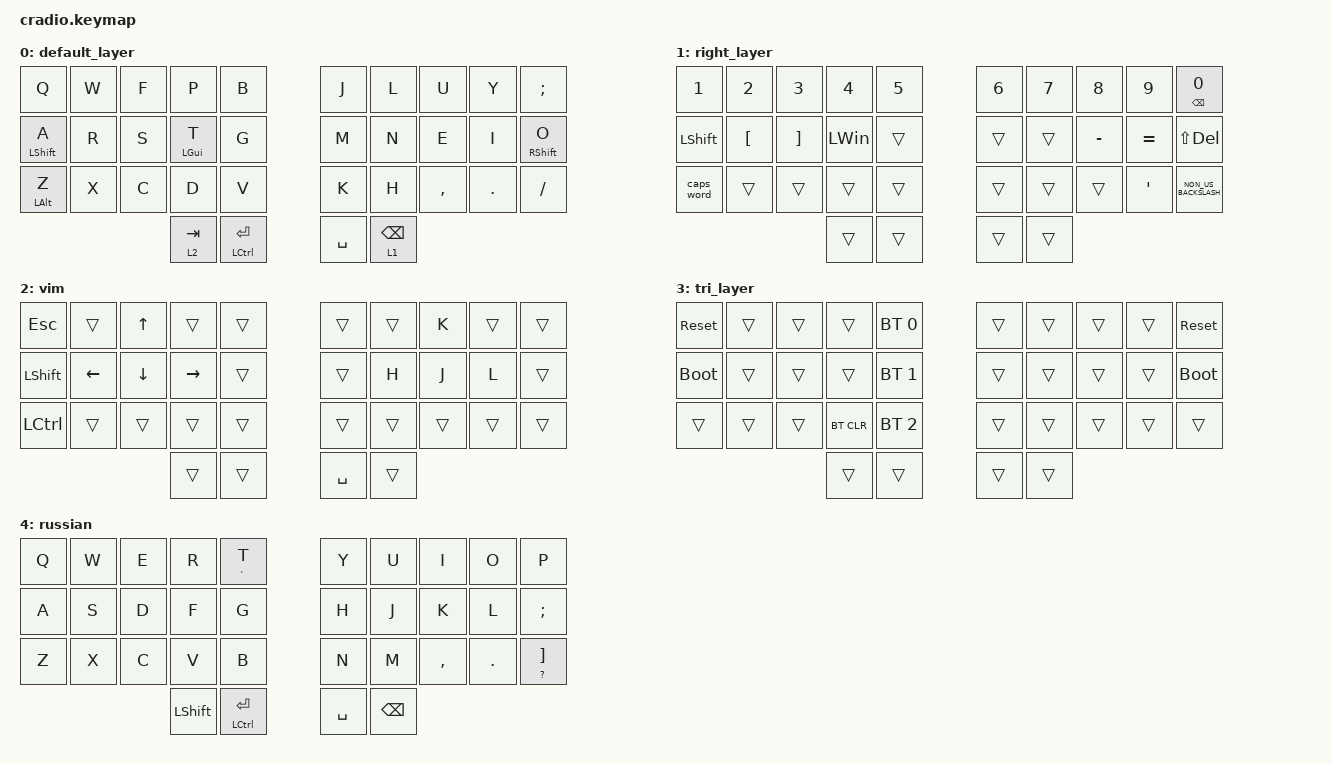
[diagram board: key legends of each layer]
// Copyright (c) 2022 The ZMK Contributors
// SPDX-License-Identifier: MIT

#include <behaviors.dtsi>
#include <dt-bindings/zmk/bt.h>
#include <dt-bindings/zmk/keys.h>

// Home row mods macro

#define HRML(k1,k2,k3,k4) &ht LSHFT k1  &ht LALT k2  &ht LCTRL k3  &ht LGUI k4
#define HRMR(k1,k2,k3,k4) &ht RGUI k1  &ht RCTRL k2  &ht RALT k3  &ht RSHFT k4

/ {
    behaviors {
        ht: hold_tap {
            compatible = "zmk,behavior-hold-tap";
            #binding-cells = <2>;
            flavor = "tap-preferred";
            tapping-term-ms = <220>;
            quick-tap-ms = <150>;
            require-prior-idle-ms = <100>;
            bindings = <&kp>, <&kp>;
        };
    };

    conditional_layers {
        compatible = "zmk,conditional-layers";

        tri_layer {
            if-layers = <1 2>;
            then-layer = <3>;
        };
    };

    combos {
        compatible = "zmk,combos";

        robot {
            bindings = <&robot>;
            key-positions = <1 2 3 4 31 32 5 6 7 8>;
            timeout-ms = <200>;
            require-prior-idle-ms = <200>;
        };

        russian_x {
            bindings = <&kp LEFT_BRACKET>;
            key-positions = <8 9>;
            layers = <4>;
        };

        russian_e {
            bindings = <&kp SQT>;
            key-positions = <18 19>;
        };

        switch_to_english {
            bindings = <&sl 0>;
            key-positions = <10 11>;
            layers = <4>;
        };

        change_language {
            bindings = <&change_language>;
            key-positions = <20 31>;
        };
    };

    macros {
        robot: robot {
            compatible = "zmk,behavior-macro";
            #binding-cells = <0>;
            bindings = <&kp FSLH &kp SPACE &kp LBKT &kp SPACE &kp CARET &kp MINUS &kp CARET &kp RBKT &kp UNDER &kp POUND &kp POUND>;
            label = "ROBOT";
        };

        change_language: change_language {
            compatible = "zmk,behavior-macro";
            #binding-cells = <0>;
            bindings = <&kp LA(LEFT_SHIFT) &tog 4>;
            label = "CHANGE_LANGUAGE";
        };
    };

    keymap {
        compatible = "zmk,keymap";

        default_layer {
            bindings = <
&kp Q           &kp W  &kp F  &kp P       &kp B              &kp J      &kp L       &kp U      &kp Y    &kp SEMICOLON
&ht LSHFT A     &kp R  &kp S  &ht LGUI T  &kp G              &kp M      &kp N       &kp E      &kp I    &ht RSHFT O
&ht LEFT_ALT Z  &kp X  &kp C  &kp D       &kp V              &kp K      &kp H       &kp COMMA  &kp DOT  &kp FSLH
                              &lt 2 TAB   &ht LCTRL ENTER    &kp SPACE  &lt 1 BSPC
            >;
        };

        right_layer {
            bindings = <
&kp NUMBER_1    &kp NUMBER_2      &kp NUMBER_3       &kp NUMBER_4  &kp N5    &kp NUMBER_6  &kp N7  &kp N8     &kp N9     &ht BACKSPACE N0
&kp LEFT_SHIFT  &kp LEFT_BRACKET  &kp RIGHT_BRACKET  &kp LEFT_WIN  &trans    &trans        &trans  &kp MINUS  &kp EQUAL  &kp LS(DEL)
&caps_word      &trans            &trans             &trans        &trans    &trans        &trans  &trans     &kp SQT    &kp NON_US_BACKSLASH
                                                     &trans        &trans    &trans        &trans
            >;
        };

        vim {
            bindings = <
&kp ESCAPE      &trans          &kp UP_ARROW    &trans           &trans    &trans     &trans  &kp K   &trans  &trans
&kp LEFT_SHIFT  &kp LEFT_ARROW  &kp DOWN_ARROW  &kp RIGHT_ARROW  &trans    &trans     &kp H   &kp J   &kp L   &trans
&kp LCTRL       &trans          &trans          &trans           &trans    &trans     &trans  &trans  &trans  &trans
                                                &trans           &trans    &kp SPACE  &trans
            >;
        };

        tri_layer {
            bindings = <
&sys_reset   &trans  &trans  &trans      &bt BT_SEL 0    &trans  &trans  &trans  &trans  &sys_reset
&bootloader  &trans  &trans  &trans      &bt BT_SEL 1    &trans  &trans  &trans  &trans  &bootloader
&trans       &trans  &trans  &bt BT_CLR  &bt BT_SEL 2    &trans  &trans  &trans  &trans  &trans
                             &trans      &trans          &trans  &trans
            >;
        };

        russian {
            bindings = <
&kp Q  &kp W  &kp E  &kp R           &ht GRAVE T        &kp Y      &kp U          &kp I      &kp O       &kp P
&kp A  &kp S  &kp D  &kp F           &kp G              &kp H      &kp J          &kp K      &kp L       &kp SEMICOLON
&kp Z  &kp X  &kp C  &kp V           &kp B              &kp N      &kp M          &kp COMMA  &kp PERIOD  &ht QUESTION RIGHT_BRACKET
                     &kp LEFT_SHIFT  &ht LCTRL ENTER    &kp SPACE  &kp BACKSPACE
            >;
        };
    };
};
